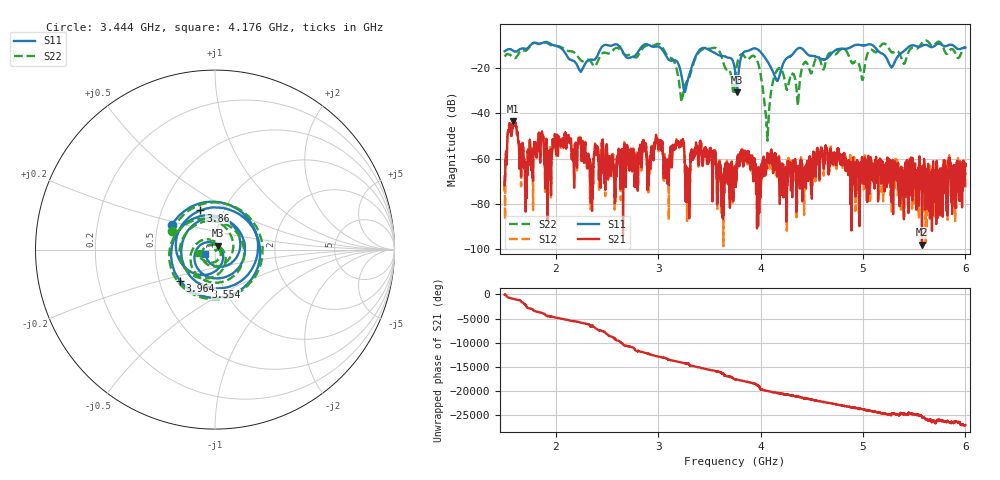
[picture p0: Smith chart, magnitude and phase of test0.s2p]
!Keysight Technologies N9923A: A.08.15
!Date: Monday, 19 February 2024 15:44:01
!Timezone: (GMT-05:00) Eastern Time (US & Canada)
!Model: N9923A
!Serial: MY52412730
!GPS Latitude:
!GPS Longitude:
!GPS TimeStamp: 0001-01-01 00:00:00Z
!GPS Seconds Since Last Read: 0
!CHECKSUM:0757324482
!Correction: S11(ON Q)S21(ON Q)S12(ON Q)S22(ON Q)
!S2P File: Measurements:S11,S21,S12,S22:
# Hz S DB R 50
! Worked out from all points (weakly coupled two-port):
!   4001 points, 1.5 GHz to 6 GHz, reference 50 ohm
!   highest |S21| = -43.67 dB at 1.585 GHz (marker M1); lowest = -97.9 dB at 5.576 GHz (marker M2)
!   lowest |S11| = -30.9 dB at 3.769 GHz (marker M3), VSWR 1.06, Z = 51.8 + j2.29 ohm
!   |S11| at or under -10 dB: 1.975 GHz to 2.47 GHz (495.5 MHz wide, 22.3 % of centre); 2.912 GHz to 4.919 GHz (2.007 GHz wide, 51.3 % of centre); 5.092 GHz to 5.59 GHz (498.3 MHz wide, 9.33 % of centre) (the widest 3 of 12)
!   |S22| runs from -52.1 to -7.9 dB; largest |S21 - S12| = 0.001
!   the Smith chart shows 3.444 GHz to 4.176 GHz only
!   S11 on the Smith chart (normalised r, x): 3.444 GHz: 0.59, +0.17; 3.554 GHz: 0.83, -0.36; 3.86 GHz: 0.78, +0.36; 3.964 GHz: 0.64, -0.24; 4.176 GHz: 0.90, -0.05
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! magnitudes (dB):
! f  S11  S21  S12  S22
! 1.5 GHz  -12.7  -67.9  -70.7  -15.0
! 1.585 GHz  -12.5  -43.7  -43.7  -15.4
! 1.705 GHz  -11.6  -81.2  -67.3  -12.5
! 1.851 GHz  -9.3  -55.8  -56.0  -9.4
! 2.25 GHz  -21.3  -59.8  -60.5  -16.9
! 2.346 GHz  -16.4  -66.0  -63.7  -17.5
! 3.001 GHz  -10.6  -54.9  -55.2  -9.4
! 3.088 GHz  -15.7  -63.7  -63.1  -14.6
! 3.232 GHz  -24.6  -52.4  -53.4  -33.9
! 3.289 GHz  -25.4  -67.1  -70.8  -25.4
! 3.444 GHz  -11.2  -58.1  -58.8  -11.7
! 3.554 GHz  -13.5  -56.6  -56.5  -11.2
! 3.75 GHz  -21.1  -67.1  -67.9  -24.8
! 3.769 GHz  -30.9  -62.5  -61.5  -18.5
! 3.86 GHz  -12.7  -61.4  -58.7  -16.1
! 3.964 GHz  -11.7  -66.8  -69.5  -16.6
! 4.063 GHz  -16.9  -59.8  -60.4  -46.6
! 4.176 GHz  -24.6  -59.6  -59.6  -20.4
! 4.5 GHz  -14.7  -77.8  -65.5  -22.1
! 5.251 GHz  -17.7  -70.0  -67.8  -11.3
! 5.576 GHz  -10.3  -97.9  -78.1  -9.0
! 6 GHz  -11.1  -62.5  -73.8  -10.7
